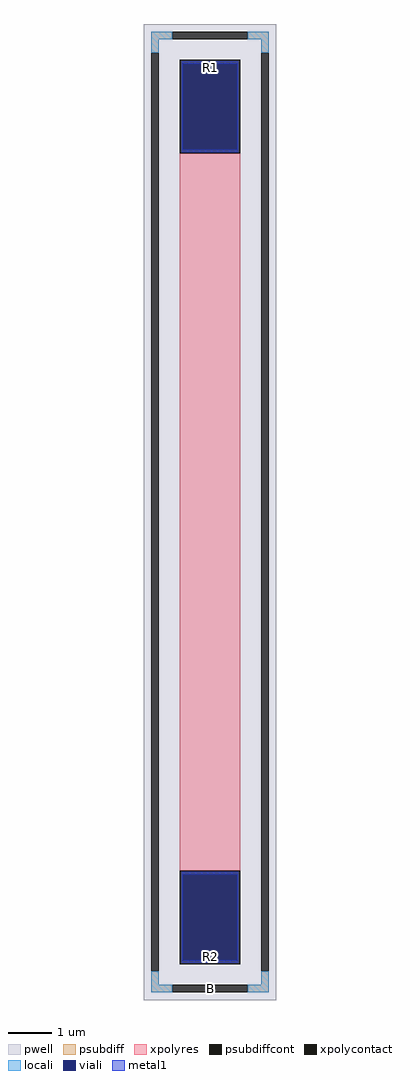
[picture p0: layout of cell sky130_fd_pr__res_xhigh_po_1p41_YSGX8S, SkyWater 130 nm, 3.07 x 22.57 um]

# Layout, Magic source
magic
tech sky130A
magscale 1 2
<< pwell >>
rect -307 -2257 307 2257
<< psubdiff >>
rect -271 2187 -175 2221
rect 175 2187 271 2221
rect -271 2125 -237 2187
rect 237 2125 271 2187
rect -271 -2187 -237 -2125
rect 237 -2187 271 -2125
rect -271 -2221 -175 -2187
rect 175 -2221 271 -2187
<< psubdiffcont >>
rect -175 2187 175 2221
rect -271 -2125 -237 2125
rect 237 -2125 271 2125
rect -175 -2221 175 -2187
<< xpolycontact >>
rect -141 1659 141 2091
rect -141 -2091 141 -1659
<< xpolyres >>
rect -141 -1659 141 1659
<< locali >>
rect -271 2187 -175 2221
rect 175 2187 271 2221
rect -271 2125 -237 2187
rect 237 2125 271 2187
rect -271 -2187 -237 -2125
rect 237 -2187 271 -2125
rect -271 -2221 -175 -2187
rect 175 -2221 271 -2187
<< viali >>
rect -125 1676 125 2073
rect -125 -2073 125 -1676
<< metal1 >>
rect -131 2073 131 2085
rect -131 1676 -125 2073
rect 125 1676 131 2073
rect -131 1664 131 1676
rect -131 -1676 131 -1664
rect -131 -2073 -125 -1676
rect 125 -2073 131 -1676
rect -131 -2085 131 -2073
<< labels >>
rlabel psubdiffcont 0 -2204 0 -2204 0 B
port 1 nsew
rlabel xpolycontact 0 2056 0 2056 0 R1
port 2 nsew
rlabel xpolycontact 0 -2056 0 -2056 0 R2
port 3 nsew
<< properties >>
string FIXED_BBOX -254 -2204 254 2204
string gencell sky130_fd_pr__res_xhigh_po_1p41
string library sky130
string parameters w 1.410 l 16.75 m 1 nx 1 wmin 1.410 lmin 0.50 class resistor rho 2000 val 24.025k dummy 0 dw 0.0 term 188.2 sterm 0.0 caplen 0 wmax 1.410 guard 1 glc 1 grc 1 gtc 1 gbc 1 compatible {sky130_fd_pr__res_xhigh_po_0p35  sky130_fd_pr__res_xhigh_po_0p69 sky130_fd_pr__res_xhigh_po_1p41  sky130_fd_pr__res_xhigh_po_2p85 sky130_fd_pr__res_xhigh_po_5p73} snake 0 full_metal 1 n_guard 0 hv_guard 0 vias 1 viagb 0 viagt 0 viagl 0 viagr 0 doports 1
<< end >>
